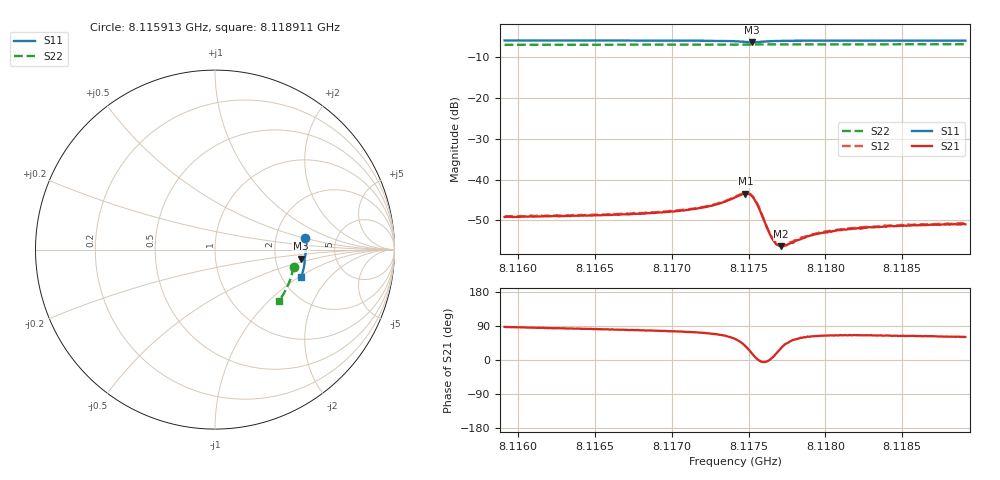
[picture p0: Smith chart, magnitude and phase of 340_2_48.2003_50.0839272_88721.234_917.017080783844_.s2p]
#  HZ  S  RI  R  50.00
! Rohde & Schwarz Vector Network Analyzer
! Rohde-Schwarz,ZNB20-2Port,1311601062101988,3.16
! Created: UTC 3/20/2024, 11:51:15 AM
! freq[Hz]  re:S11  im:S11  re:S21  im:S21  re:S12  im:S12  re:S22  im:S22
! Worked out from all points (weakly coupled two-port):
!   401 points, 8.115913 GHz to 8.118911 GHz, reference 50 ohm
!   highest |S21| = -43.45 dB at 8.117479 GHz (marker M1); lowest = -56.4 dB at 8.117712 GHz (marker M2)
!   lowest |S11| = -6.3 dB at 8.117524 GHz (marker M3), VSWR 2.86, Z = 140 - j18.3 ohm
!   |S11| at or under -10 dB: nowhere
!   |S22| runs from -7.0 to -6.8 dB; largest |S21 - S12| = 0.00017
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8.1159133e9  0.5033 0.0646  0.000158 0.00346  0.000228 0.00353  0.4381 -0.0952
8.1164153e9  0.5061 0.027  0.000483 0.00358  0.000553 0.00363  0.4307 -0.1293
8.1169174e9  0.5058 -0.0116  0.000894 0.00384  0.000922 0.00391  0.4206 -0.1628
8.1172022e9  0.5031 -0.035  0.00144 0.0043  0.0015 0.00434  0.4137 -0.1815
8.1173071e9  0.5004 -0.0449  0.00196 0.00464  0.00204 0.00474  0.4108 -0.1883
8.117412e9  0.4935 -0.055  0.00341 0.00497  0.00353 0.00505  0.4077 -0.1953
8.1174794e9  0.4835 -0.057  0.00538 0.00403  0.0055 0.00406  0.4054 -0.1992
8.1175019e9  0.4803 -0.0544  0.00592 0.00303  0.00604 0.00301  0.4048 -0.2004
8.1175244e9  0.4793 -0.0502  0.00594 0.00175  0.00605 0.00169  0.4041 -0.2016
8.1175394e9  0.4801 -0.0474  0.00557 0.000915  0.00571 0.000855  0.4038 -0.2025
8.1175619e9  0.4832 -0.0444  0.00473 6.15e-05  0.00482 3.48e-05  0.4032 -0.2037
8.1176218e9  0.4929 -0.0464  0.00252 -0.000144  0.00254 -0.000166  0.402 -0.2075
8.1176518e9  0.4956 -0.0497  0.00192 0.000187  0.00191 0.000159  0.4013 -0.2095
8.1176818e9  0.4972 -0.0532  0.00151 0.000487  0.00158 0.000499  0.4006 -0.2114
8.1177117e9  0.4983 -0.0565  0.0013 0.000791  0.00135 0.000815  0.3996 -0.2133
8.1177417e9  0.4988 -0.0597  0.00114 0.00105  0.00119 0.00104  0.3987 -0.2154
8.1178466e9  0.4991 -0.0698  0.000989 0.00161  0.00103 0.00167  0.3955 -0.222
8.1179141e9  0.4987 -0.0758  0.000951 0.00184  0.001 0.00187  0.3933 -0.2262
8.118004e9  0.4977 -0.0834  0.000991 0.00206  0.00103 0.00209  0.3904 -0.2318
8.1181539e9  0.4957 -0.0951  0.00102 0.00226  0.00109 0.00227  0.3852 -0.241
8.1184161e9  0.4914 -0.115  0.00114 0.00242  0.00118 0.00247  0.3758 -0.2567
8.1189107e9  0.4814 -0.1508  0.00137 0.00247  0.00147 0.00255  0.3562 -0.2857
